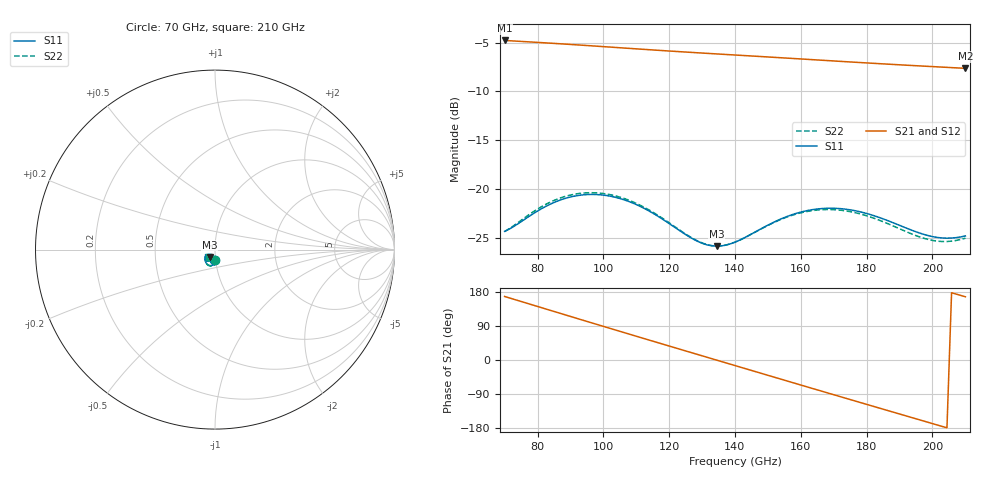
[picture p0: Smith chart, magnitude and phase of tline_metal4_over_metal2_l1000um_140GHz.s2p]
#  GHZ S DB R 50
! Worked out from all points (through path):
!   101 points, 70 GHz to 210 GHz, reference 50 ohm
!   highest |S21| = -4.77 dB at 70 GHz (marker M1); lowest = -7.6 dB at 210 GHz (marker M2)
!   group delay of S21, straight-line fit = 7.15 ps
!   lowest |S11| = -25.9 dB at 134.4 GHz (marker M3), VSWR 1.11, Z = 47 - j3.92 ohm
!   |S11| at or under -10 dB: start of sweep to end of sweep
!   |S22| runs from -25.9 to -20.4 dB; largest |S21 - S12| = 8.5e-14
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70  -24.36 -96.5  -4.77 167.6  -4.77 167.6  -24.38 -91.9
75.6  -23.24 -91.5  -4.88 152.9  -4.88 152.9  -23.09 -87.7
82.6  -21.79 -94.2  -5.03 134.4  -5.03 134.4  -21.58 -91.4
88.2  -21.00 -100.2  -5.14 119.7  -5.14 119.7  -20.80 -98.0
93.8  -20.62 -107.8  -5.27 105.0  -5.27 105.0  -20.43 -106.0
99.4  -20.62 -116.0  -5.39 90.3  -5.39 90.3  -20.46 -114.4
105  -20.99 -123.8  -5.52 75.7  -5.52 75.7  -20.85 -122.4
110.6  -21.71 -130.5  -5.65 61.2  -5.65 61.2  -21.59 -129.4
117.6  -23.03 -136.0  -5.80 43.1  -5.80 43.1  -22.94 -135.0
126  -24.90 -135.2  -5.98 21.4  -5.98 21.4  -24.85 -134.4
134.4  -25.89 -125.1  -6.16 -0.3  -6.16 -0.3  -25.87 -124.3
140  -25.48 -117.8  -6.27 -14.7  -6.27 -14.7  -25.48 -117.1
145.6  -24.53 -114.4  -6.38 -29.1  -6.38 -29.1  -24.54 -113.7
152.6  -23.30 -115.6  -6.52 -47.1  -6.52 -47.1  -23.34 -115.0
158.2  -22.56 -119.5  -6.64 -61.4  -6.64 -61.4  -22.63 -119.0
163.8  -22.12 -124.7  -6.75 -75.8  -6.75 -75.8  -22.22 -124.3
169.4  -21.99 -130.4  -6.87 -90.1  -6.87 -90.1  -22.13 -130.0
175  -22.16 -135.9  -6.98 -104.4  -6.98 -104.4  -22.34 -135.5
180.6  -22.59 -140.5  -7.09 -118.6  -7.09 -118.6  -22.83 -140.0
187.6  -23.42 -143.9  -7.23 -136.4  -7.23 -136.4  -23.75 -143.2
198.8  -24.81 -141.5  -7.44 -164.8  -7.44 -164.8  -25.21 -139.4
210  -24.84 -132.7  -7.64 166.8  -7.64 166.8  -25.07 -129.3
